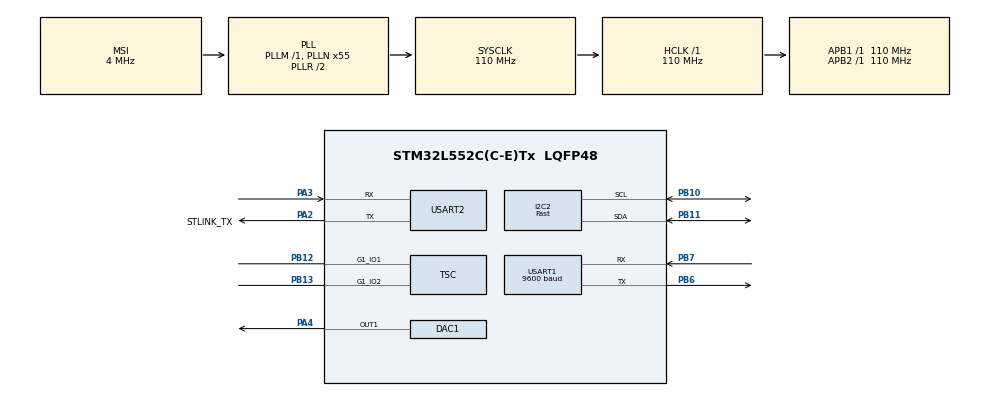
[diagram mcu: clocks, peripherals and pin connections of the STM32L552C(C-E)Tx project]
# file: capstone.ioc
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Dma.Request0=USART1_RX
Dma.Request1=USART1_TX
Dma.USART1_RX.0.Channel_PRIV_NPRIV=DMA_CHANNEL_NPRIV_DISABLE
Dma.USART1_RX.0.Direction=DMA_PERIPH_TO_MEMORY
Dma.USART1_RX.0.EventEnable=DISABLE
Dma.USART1_RX.0.Instance=DMA1_Channel1
Dma.USART1_RX.0.MemDataAlignment=DMA_MDATAALIGN_BYTE
Dma.USART1_RX.0.MemInc=DMA_MINC_ENABLE
Dma.USART1_RX.0.Mode=DMA_NORMAL
Dma.USART1_RX.0.PeriphDataAlignment=DMA_PDATAALIGN_BYTE
Dma.USART1_RX.0.PeriphInc=DMA_PINC_DISABLE
Dma.USART1_RX.0.Polarity=HAL_DMAMUX_REQ_GEN_RISING
Dma.USART1_RX.0.Priority=DMA_PRIORITY_HIGH
Dma.USART1_RX.0.RequestNumber=1
Dma.USART1_RX.0.SignalID=NONE
Dma.USART1_RX.0.SyncEnable=DISABLE
Dma.USART1_RX.0.SyncPolarity=HAL_DMAMUX_SYNC_NO_EVENT
Dma.USART1_RX.0.SyncRequestNumber=1
Dma.USART1_RX.0.SyncSignalID=NONE
Dma.USART1_TX.1.Channel_PRIV_NPRIV=DMA_CHANNEL_NPRIV_DISABLE
Dma.USART1_TX.1.Direction=DMA_MEMORY_TO_PERIPH
Dma.USART1_TX.1.EventEnable=DISABLE
Dma.USART1_TX.1.Instance=DMA1_Channel2
Dma.USART1_TX.1.MemDataAlignment=DMA_MDATAALIGN_BYTE
Dma.USART1_TX.1.MemInc=DMA_MINC_ENABLE
Dma.USART1_TX.1.Mode=DMA_NORMAL
Dma.USART1_TX.1.PeriphDataAlignment=DMA_PDATAALIGN_BYTE
Dma.USART1_TX.1.PeriphInc=DMA_PINC_DISABLE
Dma.USART1_TX.1.Polarity=HAL_DMAMUX_REQ_GEN_RISING
Dma.USART1_TX.1.Priority=DMA_PRIORITY_HIGH
Dma.USART1_TX.1.RequestNumber=1
Dma.USART1_TX.1.SignalID=NONE
Dma.USART1_TX.1.SyncEnable=DISABLE
Dma.USART1_TX.1.SyncPolarity=HAL_DMAMUX_SYNC_NO_EVENT
Dma.USART1_TX.1.SyncRequestNumber=1
Dma.USART1_TX.1.SyncSignalID=NONE
I2C2.I2C_Speed_Mode=I2C_Fast
I2C2.OwnAddress=0x3C
I2C2.Timing=0x10A21D58
Mcu.Family=STM32L5
Mcu.Name=STM32L552C(C-E)Tx
Mcu.Package=LQFP48
NVIC.DMA1_Channel1_IRQn=true\:0\:0\:false\:false\:true\:false\:true\:true
NVIC.DMA1_Channel2_IRQn=true\:0\:0\:false\:false\:true\:false\:true\:true
NVIC.PriorityGroup=NVIC_PRIORITYGROUP_3
NVIC.USART1_IRQn=true\:0\:0\:false\:false\:true\:true\:true\:true
NVIC.USART2_IRQn=true\:0\:0\:false\:false\:true\:true\:true\:true
PA13\ (JTMS/SWDIO).Mode=JTAG_5_pins
PA13\ (JTMS/SWDIO).Signal=DEBUG_JTMS-SWDIO
PA14\ (JTCK/SWCLK).Mode=JTAG_5_pins
PA14\ (JTCK/SWCLK).Signal=DEBUG_JTCK-SWCLK
PA15\ (JTDI).Mode=JTAG_5_pins
PA15\ (JTDI).Signal=DEBUG_JTDI
PA2.GPIO_Label=STLINK_TX
PA2.Mode=Asynchronous
PA2.Signal=USART2_TX
PA3.Mode=Asynchronous
PA3.Signal=USART2_RX
PA4.Signal=COMP_DAC11_group
PB10.Mode=I2C
PB10.Signal=I2C2_SCL
PB11.Mode=I2C
PB11.Signal=I2C2_SDA
PB12.Mode=G1_IO1-Channel
PB12.Signal=TSC_G1_IO1
PB13.Mode=G1_IO2-Sampling
PB13.Signal=TSC_G1_IO2
PB3\ (JTDO/TRACESWO).Mode=JTAG_5_pins
PB3\ (JTDO/TRACESWO).Signal=DEBUG_JTDO-SWO
PB6.Mode=Asynchronous
PB6.Signal=USART1_TX
PB7.Mode=Asynchronous
PB7.Signal=USART1_RX
PC14-OSC32_IN\ (PC14).Mode=LSE-External-Oscillator
PC14-OSC32_IN\ (PC14).Signal=RCC_OSC32_IN
PC15-OSC32_OUT\ (PC15).Mode=LSE-External-Oscillator
PC15-OSC32_OUT\ (PC15).Signal=RCC_OSC32_OUT
PH0-OSC_IN\ (PH0).Mode=HSE-External-Oscillator
PH0-OSC_IN\ (PH0).Signal=RCC_OSC_IN
PH1-OSC_OUT\ (PH1).Mode=HSE-External-Oscillator
PH1-OSC_OUT\ (PH1).Signal=RCC_OSC_OUT
ProjectManager.HeapSize=0x200
ProjectManager.StackSize=0x400
ProjectManager.TargetToolchain=STM32CubeIDE
RCC.ADCFreq_Value=64000000
RCC.AHBFreq_Value=110000000
RCC.APB1Freq_Value=110000000
RCC.APB1TimFreq_Value=110000000
RCC.APB2Freq_Value=110000000
RCC.APB2TimFreq_Value=110000000
RCC.CK48CLockSelection=RCC_USBCLKSOURCE_HSI48
RCC.CortexFreq_Value=110000000
RCC.HCLKFreq_Value=110000000
RCC.HSE_VALUE=16000000
RCC.HSI48_VALUE=48000000
RCC.HSI_VALUE=16000000
RCC.MSI_VALUE=4000000
RCC.PLLN=55
RCC.PLLSAI1N=32
RCC.SYSCLKFreq_VALUE=110000000
RCC.SYSCLKSource=RCC_SYSCLKSOURCE_PLLCLK
RCC.USBFreq_Value=48000000
RCC.VCOOutputFreq_Value=220000000
SH.COMP_DAC11_group.0=DAC1_OUT1,DAC_OUT1
TSC.ChannelIOs-G1_IO1=TSC_GROUP1_IO1
TSC.PulseGeneratorPrescaler=TSC_PG_PRESC_DIV16
TSC.SamplingIOs-G1_IO2=TSC_GROUP1_IO2
USART1.BaudRate=9600
USART1.RxPinLevelInvertParam=ADVFEATURE_RXINV_DISABLE
USART1.TxPinLevelInvertParam=ADVFEATURE_TXINV_DISABLE
USART1.VirtualMode-Asynchronous=VM_ASYNC
USART2.VirtualMode-Asynchronous=VM_ASYNC
VP_ICACHE_VS_ICACHE.Mode=DefaultMode
VP_PWR_VS_DBSignals.Mode=DisableDeadBatterySignals
VP_PWR_VS_SECSignals.Mode=Security/Privilege
board=custom

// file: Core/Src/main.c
/* USER CODE BEGIN Header */
/**
  ******************************************************************************
  * @file           : main.c
  * @brief          : Main program body
  ******************************************************************************
  * @attention
  *
  * Copyright (c) 2026 STMicroelectronics.
  * All rights reserved.
  *
  * This software is licensed under terms that can be found in the LICENSE file
  * in the root directory of this software component.
  * If no LICENSE file comes with this software, it is provided AS-IS.
  *
  ******************************************************************************
  */
/* USER CODE END Header */
#include "main.h"
#include "dac.h"
#include "dma.h"
#include "i2c.h"
#include "icache.h"
#include "tsc.h"
#include "usart.h"
#include "gpio.h"

/* USER CODE BEGIN Includes */
#include "sh1106.h"
#include "at09_ble.h"
#include "audio_packet.h"
#include <string.h>
#include <stdio.h>
#include <stdbool.h>
/* USER CODE END Includes */

/* USER CODE BEGIN PTD */

typedef struct {
  uint32_t raw;
  uint32_t baseline;
  uint32_t threshold;
  uint32_t ambient_threshold;
  uint32_t delta;
  uint32_t threshold_min;
  uint32_t threshold_divisor;
  uint32_t ambient_threshold_min;
  uint32_t ambient_threshold_divisor;
  uint8_t baseline_ok;
  uint8_t is_active;
  uint8_t last_tx_byte;
} TouchDebug_t;

typedef enum {
  BT_PROTO_WAIT_SYNC0 = 0,
  BT_PROTO_WAIT_SYNC1,
  BT_PROTO_WAIT_TYPE,
  BT_PROTO_WAIT_LENGTH,
  BT_PROTO_WAIT_PAYLOAD,
  BT_PROTO_WAIT_CHECKSUM,
} BT_ProtocolParseState_t;

typedef struct {
  BT_ProtocolParseState_t state;
  uint8_t type;
  uint8_t length;
  uint8_t index;
  uint8_t payload[16];
} BT_ProtocolParser_t;

typedef struct {
  uint32_t baud_rate;
  const char *at_command;
} BT05_BaudSetting_t;

typedef enum {
  FACE_HAPPY       = 0,
  FACE_DISTRACTED  = 1,
  FACE_DISTURBED   = 2,
  FACE_CRISIS      = 3,
} FaceState_t;

/* USER CODE END PTD */

/* USER CODE BEGIN PD */

#define TOUCH_SAMPLE_INTERVAL_MS  5U
#define TOUCH_BASELINE_SAMPLES    8U
#define TOUCH_THRESHOLD_MIN       7U
#define TOUCH_THRESHOLD_DIVISOR   122U
#define TOUCH_AMBIENT_THRESHOLD_MIN      2U
#define TOUCH_AMBIENT_THRESHOLD_DIVISOR  2U

#define BT_PROTO_SYNC0                  0xA5U
#define BT_PROTO_SYNC1                  0x5AU
#define BT_PROTO_MAX_PAYLOAD            16U
#define BT_PROTO_CMD_SET_FACE           0x01U
#define BT_PROTO_CMD_GET_STATUS         0x02U
#define BT_PROTO_CMD_PING               0x03U
#define BT_PROTO_CMD_SET_BT05_BAUD      0x04U
#define BT_PROTO_EVT_TOUCH_STATE        0x81U
#define BT_PROTO_EVT_FACE_STATE         0x82U
#define BT_PROTO_EVT_STATUS             0x83U
#define BT_PROTO_EVT_PONG               0x84U
#define BT_PROTO_EVT_BT05_BAUD_RESULT   0x85U

#define BT05_BAUD_STATUS_OK             0U
#define BT05_BAUD_STATUS_UNSUPPORTED    1U
#define BT05_BAUD_STATUS_LINK_DOWN      2U
#define BT05_BAUD_STATUS_COMMAND_FAIL   3U
#define BT05_BAUD_STATUS_UART_REINIT    4U
#define BT05_BAUD_STATUS_VERIFY_FAIL    5U

/* USER CODE END PD */

/* USER CODE BEGIN PV */

static bool face_state_known = false;
static FaceState_t face_state = FACE_HAPPY;
static bool touch_baseline_valid = false;
static bool touch_active = false;
static bool fake_audio_enabled = true;
static uint32_t touch_baseline = 0;
static uint32_t touch_last_sample_ms = 0;
static BT_ProtocolParser_t bt_protocol_parser = {0};
static uint32_t blink_last_ms = 0;
static bool blink_is_closed = false;

volatile TouchDebug_t dbg_touch = {
  .raw = 0,
  .baseline = 0,
  .threshold = 0,
  .ambient_threshold = 0,
  .delta = 0,
  .threshold_min = TOUCH_THRESHOLD_MIN,
  .threshold_divisor = TOUCH_THRESHOLD_DIVISOR,
  .ambient_threshold_min = TOUCH_AMBIENT_THRESHOLD_MIN,
  .ambient_threshold_divisor = TOUCH_AMBIENT_THRESHOLD_DIVISOR,
  .baseline_ok = 0,
  .is_active = 0,
  .last_tx_byte = 0,
};

/* USER CODE END PV */

void SystemClock_Config(void);
/* USER CODE BEGIN PFP */
static void DrawFace(FaceState_t state);
static void DrawCuteEye(int16_t center_x, int16_t center_y, FaceState_t state, bool left_eye);
static void SetFaceState(FaceState_t state);
static bool Touch_ReadRaw(uint32_t *value);
static void Touch_InitBaseline(void);
static void Touch_Process(void);
static void BT_ProtocolResetParser(void);
static bool BT_ProtocolProcessByte(uint8_t byte);
static void BT_ProtocolHandleFrame(uint8_t type, const uint8_t *payload, uint8_t length);
static void BT_ProtocolSendFrame(uint8_t type, const uint8_t *payload, uint8_t length);
static void BT_ProtocolSendFaceState(FaceState_t state);
static void BT_ProtocolSendTouchState(bool active);
static void BT_ProtocolSendStatus(void);
static void BT_ProtocolSendPong(void);
static void BT_ProtocolSendBt05BaudResult(uint8_t status, uint32_t baud_rate);
static uint32_t BT_ProtocolReadU32LE(const uint8_t *src);
static const BT05_BaudSetting_t *BT05_FindBaudSetting(uint32_t baud_rate);
static bool BT05_ReconfigureLocalUart(uint32_t baud_rate);
static uint8_t BT05_ConfigureBaud(uint32_t baud_rate);
/* USER CODE END PFP */

/* USER CODE BEGIN 0 */

static void DrawCuteEye(int16_t center_x, int16_t center_y, FaceState_t state, bool left_eye) {
  const int16_t eye_scale = 3;
  const int16_t eye_radius = 6 * eye_scale;
  const int16_t pupil_radius = 2 * eye_scale;
  const int16_t highlight_radius = eye_scale - 1;
  int16_t pupil_x, pupil_y;

  SH1106_DrawFilledCircle(center_x, center_y, eye_radius, SH1106_COLOR_WHITE);

  switch (state) {
    case FACE_HAPPY:
    default:
      /* Symmetric trim at top, pupils up-right */
      pupil_x = center_x + eye_scale;
      pupil_y = center_y + eye_scale;
      SH1106_DrawLine(center_x - (5 * eye_scale), center_y - (8 * eye_scale),
                      center_x - eye_scale,        center_y - (6 * eye_scale), SH1106_COLOR_WHITE);
      SH1106_DrawLine(center_x + eye_scale,        center_y - (6 * eye_scale),
                      center_x + (5 * eye_scale),  center_y - (8 * eye_scale), SH1106_COLOR_WHITE);
      break;

    case FACE_DISTRACTED:
      /* Both pupils drift right (zoning out), left brow raised higher */
      pupil_x = center_x + (2 * eye_scale);
      pupil_y = center_y;
      if (left_eye) {
        SH1106_DrawLine(center_x - (5 * eye_scale), center_y - (9 * eye_scale),
                        center_x + (3 * eye_scale), center_y - (7 * eye_scale), SH1106_COLOR_WHITE);
      } else {
        SH1106_DrawLine(center_x - (5 * eye_scale), center_y - (8 * eye_scale),
                        center_x - eye_scale,        center_y - (6 * eye_scale), SH1106_COLOR_WHITE);
        SH1106_DrawLine(center_x + eye_scale,        center_y - (6 * eye_scale),
                        center_x + (5 * eye_scale),  center_y - (8 * eye_scale), SH1106_COLOR_WHITE);
      }
      break;

    case FACE_DISTURBED:
      /* Brows angled inward (furrowed), pupils downcast toward center */
      pupil_x = left_eye ? (center_x - eye_scale) : (center_x + eye_scale);
      pupil_y = center_y + (2 * eye_scale);
      if (left_eye) {
        SH1106_DrawLine(center_x - (6 * eye_scale), center_y - (4 * eye_scale),
                        center_x + (6 * eye_scale), center_y - eye_scale,    SH1106_COLOR_BLACK);
        SH1106_DrawLine(center_x - (6 * eye_scale), center_y - (3 * eye_scale),
                        center_x + (6 * eye_scale), center_y,                SH1106_COLOR_BLACK);
        SH1106_DrawLine(center_x - (5 * eye_scale), center_y - (9 * eye_scale),
                        center_x + (4 * eye_scale), center_y - (7 * eye_scale), SH1106_COLOR_WHITE);
      } else {
        SH1106_DrawLine(center_x - (6 * eye_scale), center_y - eye_scale,
                        center_x + (6 * eye_scale), center_y - (4 * eye_scale), SH1106_COLOR_BLACK);
        SH1106_DrawLine(center_x - (6 * eye_scale), center_y,
                        center_x + (6 * eye_scale), center_y - (3 * eye_scale), SH1106_COLOR_BLACK);
        SH1106_DrawLine(center_x - (4 * eye_scale), center_y - (7 * eye_scale),
                        center_x + (5 * eye_scale), center_y - (9 * eye_scale), SH1106_COLOR_WHITE);
      }
      break;

    case FACE_CRISIS:
      /* Wide-open eyes (no eyelid trim), pupils small and centered — shocked look */
      pupil_x = center_x;
      pupil_y = center_y;
      break;
  }

  SH1106_DrawFilledCircle(pupil_x, pupil_y, pupil_radius, SH1106_COLOR_BLACK);
  SH1106_DrawFilledCircle(pupil_x - eye_scale, pupil_y - eye_scale, highlight_radius, SH1106_COLOR_WHITE);
}

static void DrawFace(FaceState_t state) {
  SH1106_Fill(SH1106_COLOR_BLACK);

  int16_t eye_y = (state == FACE_DISTURBED) ? 33 : 30;
  DrawCuteEye(42, eye_y, state, true);
  DrawCuteEye(86, eye_y, state, false);

  SH1106_UpdateScreen();
}

static uint8_t BT_ProtocolChecksum(uint8_t type, uint8_t length, const uint8_t *payload) {
  uint8_t checksum = type ^ length;

  for (uint8_t i = 0; i < length; i++) {
    checksum ^= payload[i];
  }

  return checksum;
}

static uint16_t BT_ProtocolClampU16(uint32_t value) {
  if (value > 0xFFFFU) {
    return 0xFFFFU;
  }

  return (uint16_t)value;
}

static void BT_ProtocolWriteU16LE(uint8_t *dst, uint16_t value) {
  dst[0] = (uint8_t)(value & 0xFFU);
  dst[1] = (uint8_t)((value >> 8) & 0xFFU);
}

static void BT_ProtocolWriteU32LE(uint8_t *dst, uint32_t value) {
  dst[0] = (uint8_t)(value & 0xFFU);
  dst[1] = (uint8_t)((value >> 8) & 0xFFU);
  dst[2] = (uint8_t)((value >> 16) & 0xFFU);
  dst[3] = (uint8_t)((value >> 24) & 0xFFU);
}

static uint32_t BT_ProtocolReadU32LE(const uint8_t *src) {
  return ((uint32_t)src[0]) |
         ((uint32_t)src[1] << 8) |
         ((uint32_t)src[2] << 16) |
         ((uint32_t)src[3] << 24);
}

static const BT05_BaudSetting_t *BT05_FindBaudSetting(uint32_t baud_rate) {
  static const BT05_BaudSetting_t settings[] = {
    { 9600U,   "AT+BAUD0" },
    { 19200U,  "AT+BAUD1" },
    { 38400U,  "AT+BAUD2" },
    { 57600U,  "AT+BAUD3" },
    { 115200U, "AT+BAUD4" },
    { 230400U, "AT+BAUD8" },
  };

  for (uint32_t i = 0; i < (sizeof(settings) / sizeof(settings[0])); i++) {
    if (settings[i].baud_rate == baud_rate) {
      return &settings[i];
    }
  }

  return NULL;
}

static bool BT05_ReconfigureLocalUart(uint32_t baud_rate) {
  if (HAL_UART_Abort(&huart1) != HAL_OK) {
    return false;
  }

  if (HAL_UART_DeInit(&huart1) != HAL_OK) {
    return false;
  }

  huart1.Init.BaudRate = baud_rate;

  if (HAL_UART_Init(&huart1) != HAL_OK) {
    return false;
  }

  if (HAL_UARTEx_SetTxFifoThreshold(&huart1, UART_TXFIFO_THRESHOLD_1_8) != HAL_OK) {
    return false;
  }

  if (HAL_UARTEx_SetRxFifoThreshold(&huart1, UART_RXFIFO_THRESHOLD_1_8) != HAL_OK) {
    return false;
  }

  if (HAL_UARTEx_DisableFifoMode(&huart1) != HAL_OK) {
    return false;
  }

  AT09_Init(&huart1);
  return true;
}

static uint8_t BT05_ConfigureBaud(uint32_t baud_rate) {
  char response[32];
  uint32_t previous_baud = huart1.Init.BaudRate;
  const BT05_BaudSetting_t *setting = BT05_FindBaudSetting(baud_rate);

  if (setting == NULL) {
    return BT05_BAUD_STATUS_UNSUPPORTED;
  }

  if (!AT09_SendCommand("AT", response, sizeof(response), 250U)) {
    return BT05_BAUD_STATUS_LINK_DOWN;
  }

  if (!AT09_SendCommand(setting->at_command, response, sizeof(response), 300U)) {
    return BT05_BAUD_STATUS_COMMAND_FAIL;
  }

  HAL_Delay(60U);

  if (!BT05_ReconfigureLocalUart(baud_rate)) {
    BT05_ReconfigureLocalUart(previous_baud);
    return BT05_BAUD_STATUS_UART_REINIT;
  }

  for (uint32_t attempt = 0; attempt < 3U; attempt++) {
    HAL_Delay(40U);
    if (AT09_SendCommand("AT", response, sizeof(response), 250U)) {
      return BT05_BAUD_STATUS_OK;
    }
  }

  if (BT05_ReconfigureLocalUart(previous_baud)) {
    if (AT09_SendCommand("AT", response, sizeof(response), 250U)) {
      return BT05_BAUD_STATUS_VERIFY_FAIL;
    }
  }

  return BT05_BAUD_STATUS_VERIFY_FAIL;
}

static void BT_ProtocolResetParser(void) {
  bt_protocol_parser.state = BT_PROTO_WAIT_SYNC0;
  bt_protocol_parser.type = 0U;
  bt_protocol_parser.length = 0U;
  bt_protocol_parser.index = 0U;
}

static void BT_ProtocolSendFrame(uint8_t type, const uint8_t *payload, uint8_t length) {
  uint8_t frame[2U + 1U + 1U + BT_PROTO_MAX_PAYLOAD + 1U];

  if (length > BT_PROTO_MAX_PAYLOAD) {
    return;
  }

  frame[0] = BT_PROTO_SYNC0;
  frame[1] = BT_PROTO_SYNC1;
  frame[2] = type;
  frame[3] = length;

  if ((payload != NULL) && (length > 0U)) {
    memcpy(&frame[4], payload, length);
  }

  frame[4U + length] = BT_ProtocolChecksum(type, length, payload);
  AT09_SendBytes(frame, (uint16_t)(5U + length));
}

static void BT_ProtocolSendFaceState(FaceState_t state) {
  uint8_t payload[1];

  payload[0] = (uint8_t)state;
  BT_ProtocolSendFrame(BT_PROTO_EVT_FACE_STATE, payload, sizeof(payload));
}

static void BT_ProtocolSendTouchState(bool active) {
  uint8_t payload[5];

  payload[0] = active ? 1U : 0U;
  BT_ProtocolWriteU16LE(&payload[1], BT_ProtocolClampU16(dbg_touch.delta));
  BT_ProtocolWriteU16LE(&payload[3], BT_ProtocolClampU16(dbg_touch.raw));
  BT_ProtocolSendFrame(BT_PROTO_EVT_TOUCH_STATE, payload, sizeof(payload));
}

static void BT_ProtocolSendStatus(void) {
  uint8_t payload[11];

  payload[0] = (uint8_t)(((uint8_t)face_state & 0x03U) |
                         (touch_active ? 0x04U : 0x00U) |
                         (touch_baseline_valid ? 0x08U : 0x00U));
  BT_ProtocolWriteU16LE(&payload[1], BT_ProtocolClampU16(dbg_touch.raw));
  BT_ProtocolWriteU16LE(&payload[3], BT_ProtocolClampU16(dbg_touch.baseline));
  BT_ProtocolWriteU16LE(&payload[5], BT_ProtocolClampU16(dbg_touch.delta));
  BT_ProtocolWriteU16LE(&payload[7], BT_ProtocolClampU16(dbg_touch.threshold));
  BT_ProtocolWriteU16LE(&payload[9], BT_ProtocolClampU16(dbg_touch.ambient_threshold));
  BT_ProtocolSendFrame(BT_PROTO_EVT_STATUS, payload, sizeof(payload));
}

static void BT_ProtocolSendPong(void) {
  uint8_t payload[4];

  BT_ProtocolWriteU32LE(payload, HAL_GetTick());
  BT_ProtocolSendFrame(BT_PROTO_EVT_PONG, payload, sizeof(payload));
}

static void BT_ProtocolSendBt05BaudResult(uint8_t status, uint32_t baud_rate) {
  uint8_t payload[5];

  payload[0] = status;
  BT_ProtocolWriteU32LE(&payload[1], baud_rate);
  BT_ProtocolSendFrame(BT_PROTO_EVT_BT05_BAUD_RESULT, payload, sizeof(payload));
}

static void BT_ProtocolHandleFrame(uint8_t type, const uint8_t *payload, uint8_t length) {
  switch (type) {
    case BT_PROTO_CMD_SET_FACE:
      if (length >= 1U && payload[0] <= 3U) {
        static const FaceState_t face_map[4] = {
          FACE_CRISIS, FACE_DISTRACTED, FACE_HAPPY, FACE_DISTURBED
        };
        SetFaceState(face_map[payload[0]]);
      }
      break;

    case BT_PROTO_CMD_GET_STATUS:
      BT_ProtocolSendStatus();
      break;

    case BT_PROTO_CMD_PING:
      BT_ProtocolSendPong();
      break;

    case BT_PROTO_CMD_SET_BT05_BAUD:
      if (length >= 4U) {
        uint32_t requested_baud = BT_ProtocolReadU32LE(payload);
        uint8_t result = BT05_ConfigureBaud(requested_baud);
        BT_ProtocolSendBt05BaudResult(result, requested_baud);
      }
      break;

    default:
      break;
  }
}

static bool BT_ProtocolProcessByte(uint8_t byte) {
  switch (bt_protocol_parser.state) {
    case BT_PROTO_WAIT_SYNC0:
      if (byte == BT_PROTO_SYNC0) {
        bt_protocol_parser.state = BT_PROTO_WAIT_SYNC1;
        return true;
      }
      return false;

    case BT_PROTO_WAIT_SYNC1:
      if (byte == BT_PROTO_SYNC1) {
        bt_protocol_parser.state = BT_PROTO_WAIT_TYPE;
      } else if (byte == BT_PROTO_SYNC0) {
        bt_protocol_parser.state = BT_PROTO_WAIT_SYNC1;
      } else {
        BT_ProtocolResetParser();
      }
      return true;

    case BT_PROTO_WAIT_TYPE:
      bt_protocol_parser.type = byte;
      bt_protocol_parser.state = BT_PROTO_WAIT_LENGTH;
      return true;

    case BT_PROTO_WAIT_LENGTH:
      if (byte > BT_PROTO_MAX_PAYLOAD) {
        BT_ProtocolResetParser();
        return true;
      }

      bt_protocol_parser.length = byte;
      bt_protocol_parser.index = 0U;
      bt_protocol_parser.state = (byte == 0U) ? BT_PROTO_WAIT_CHECKSUM : BT_PROTO_WAIT_PAYLOAD;
      return true;

    case BT_PROTO_WAIT_PAYLOAD:
      bt_protocol_parser.payload[bt_protocol_parser.index++] = byte;
      if (bt_protocol_parser.index >= bt_protocol_parser.length) {
        bt_protocol_parser.state = BT_PROTO_WAIT_CHECKSUM;
      }
      return true;

    case BT_PROTO_WAIT_CHECKSUM:
      if (byte == BT_ProtocolChecksum(bt_protocol_parser.type,
                                      bt_protocol_parser.length,
                                      bt_protocol_parser.payload)) {
        BT_ProtocolHandleFrame(bt_protocol_parser.type,
                               bt_protocol_parser.payload,
                               bt_protocol_parser.length);
      }
      BT_ProtocolResetParser();
      return true;

    default:
      BT_ProtocolResetParser();
      return false;
  }
}

static void DrawBlinkEyes(void) {
  SH1106_Fill(SH1106_COLOR_BLACK);
  SH1106_DrawFilledRectangle(42 - 15, 30 - 2, 30, 5, SH1106_COLOR_WHITE);
  SH1106_DrawFilledRectangle(86 - 15, 30 - 2, 30, 5, SH1106_COLOR_WHITE);
  SH1106_UpdateScreen();
}

static void Blink_Process(void) {
  if (face_state != FACE_CRISIS) return;

  uint32_t now = HAL_GetTick();

  if (!blink_is_closed) {
    if (now - blink_last_ms >= 3500U) {
      blink_is_closed = true;
      blink_last_ms = now;
      DrawBlinkEyes();
    }
  } else {
    if (now - blink_last_ms >= 400U) {
      blink_is_closed = false;
      blink_last_ms = now;
      DrawFace(FACE_CRISIS);
    }
  }
}

static void SetFaceState(FaceState_t state) {
  if (face_state_known && face_state == state) {
    return;
  }

  blink_is_closed = false;
  blink_last_ms = HAL_GetTick();

  face_state = state;
  face_state_known = true;
  DrawFace(state);

  {
    uint8_t echo = (uint8_t)('0' + (uint8_t)state);
    AT09_SendBytes(&echo, 1);
  }

  BT_ProtocolSendFaceState(state);
}

static bool Touch_ReadRaw(uint32_t *value) {
  if (HAL_TSC_Start(&htsc) != HAL_OK) {
    return false;
  }

  if (HAL_TSC_PollForAcquisition(&htsc) != HAL_OK) {
    return false;
  }

  *value = HAL_TSC_GroupGetValue(&htsc, TSC_GROUP1_IDX);
  dbg_touch.raw = *value;
  return true;
}

static void Touch_InitBaseline(void) {
  uint32_t sum = 0;
  uint32_t sample = 0;
  uint32_t sample_count = 0;

  HAL_Delay(2000);

  for (uint32_t i = 0; i < TOUCH_BASELINE_SAMPLES; i++) {
    if (Touch_ReadRaw(&sample)) {
      sum += sample;
      sample_count++;
    }
    HAL_Delay(2);
  }

  if (sample_count > 0U) {
    touch_baseline = sum / sample_count;
    touch_baseline_valid = true;
    touch_last_sample_ms = HAL_GetTick();
    dbg_touch.baseline = touch_baseline;
    dbg_touch.baseline_ok = 1U;
  }
}

static void Touch_Process(void) {
  uint32_t sample = 0;
  uint32_t threshold = 0;
  uint32_t ambient_threshold = 0;
  uint32_t delta = 0;
  bool touched = false;

  if (!touch_baseline_valid) {
    dbg_touch.baseline_ok = 0U;
    return;
  }

  if ((HAL_GetTick() - touch_last_sample_ms) < TOUCH_SAMPLE_INTERVAL_MS) {
    return;
  }
  touch_last_sample_ms = HAL_GetTick();

  if (!Touch_ReadRaw(&sample)) {
    return;
  }

  threshold = touch_baseline / TOUCH_THRESHOLD_DIVISOR;
  if (threshold < TOUCH_THRESHOLD_MIN) {
    threshold = TOUCH_THRESHOLD_MIN;
  }

  ambient_threshold = threshold / TOUCH_AMBIENT_THRESHOLD_DIVISOR;
  if (ambient_threshold < TOUCH_AMBIENT_THRESHOLD_MIN) {
    ambient_threshold = TOUCH_AMBIENT_THRESHOLD_MIN;
  }

  dbg_touch.threshold = threshold;
  dbg_touch.ambient_threshold = ambient_threshold;

  if (sample <= touch_baseline) {
    delta = touch_baseline - sample;
  }
  dbg_touch.delta = delta;

#define TOUCH_DEBUG_STREAM_EN 0

  if (touch_active) {
    touched = (delta >= ambient_threshold);
  } else {
    touched = (delta >= threshold);
  }

#if TOUCH_DEBUG_STREAM_EN
  static uint32_t last_bt_send_ms = 0;
  if ((touched != touch_active) || ((HAL_GetTick() - last_bt_send_ms) >= 100U)) {
    BT_ProtocolSendTouchState(touched);
    last_bt_send_ms = HAL_GetTick();
  }
#else
  if (touched != touch_active) {
    BT_ProtocolSendTouchState(touched);
  }
#endif

  if (touched && !touch_active) {
    uint8_t touch_byte = 0x31;
    AT09_SendBytes(&touch_byte, 1);
    dbg_touch.last_tx_byte = touch_byte;
  }

  touch_active = touched;
  dbg_touch.is_active = touched ? 1U : 0U;
}

/* USER CODE END 0 */

int main(void)
{

  /* MCU Configuration--------------------------------------------------------*/

  /* Reset of all peripherals, Initializes the Flash interface and the Systick. */
  HAL_Init();

  /* Configure the system clock */
  SystemClock_Config();

  /* Initialize all configured peripherals */
  MX_GPIO_Init();
  MX_DMA_Init();
  MX_USART2_UART_Init();
  MX_ICACHE_Init();
  MX_DAC1_Init();
  MX_I2C2_Init();
  MX_USART1_UART_Init();
  MX_TSC_Init();
  /* USER CODE BEGIN 2 */

  /* I2C bus scan: sweep all 7-bit addresses and report over USART2 */
  {
    char msg[48];
    const char *hdr = "[I2C] Scanning bus...\r\n";
    HAL_UART_Transmit(&huart2, (uint8_t *)hdr, strlen(hdr), 500);
    int found = 0;
    for (uint8_t addr = 1; addr <= 127; addr++) {
      if (HAL_I2C_IsDeviceReady(&hi2c2, (uint16_t)(addr << 1), 2, 50) == HAL_OK) {
        int n = snprintf(msg, sizeof(msg), "[I2C] ACK at 0x%02X\r\n", addr);
        HAL_UART_Transmit(&huart2, (uint8_t *)msg, n, 500);
        found++;
      }
    }
    if (found == 0) {
      const char *none = "[I2C] No devices found\r\n";
      HAL_UART_Transmit(&huart2, (uint8_t *)none, strlen(none), 500);
    } else {
      int n = snprintf(msg, sizeof(msg), "[I2C] Scan done, %d device(s)\r\n", found);
      HAL_UART_Transmit(&huart2, (uint8_t *)msg, n, 500);
    }
  }

  SH1106_Init();
  AT09_Init(&huart1);
  Touch_InitBaseline();
  Audio_Init();

  // Show smiley by default on boot
  SetFaceState(FACE_CRISIS);

  // Pre-fill ring buffer with fake 440 Hz tone, then start DAC playback.
  // Comment out these two lines once real BLE audio packets are arriving.
  Audio_FeedFakeData();
  Audio_StartPlayback();

  /* USER CODE END 2 */

  /* Infinite loop */
  /* USER CODE BEGIN WHILE */
  while (1)
  {
    /* ---- Video frame streaming (data type 0x02) ---- */
    AT09_CheckFrameTimeout();
    if (at09_frame_ready) {
      SH1106_SetBufferAndFlush((const uint8_t *)at09_frame_buf);
      AT09_AckFrame();
    }

    /* ---- Audio packet streaming (start byte 0xAA) ---- */
    if (at09_audio_pkt_ready) {
      if (fake_audio_enabled) {
        Audio_StopPlayback();
        Audio_Init();
        fake_audio_enabled = false;
      }

      Audio_ProcessPacket((const uint8_t *)at09_audio_pkt_buf);
      AT09_AckAudioPacket();
      if (!Audio_IsPlaying()) {
        Audio_StartPlayback();
      }
    }

    /* Keep either the fake tone or the last real packet feeding playback. */
    if (fake_audio_enabled) {
      Audio_FeedFakeData();
    } else {
      Audio_FeedLastPacket();
    }

    Touch_Process();
    Blink_Process();

    /* ---- Legacy single-byte commands ---- */
    if (AT09_DataAvailable()) {
      uint8_t buf[AT09_RX_BUF_SIZE];
      uint16_t len = AT09_Read(buf, sizeof(buf));
      for (uint16_t i = 0; i < len; i++) {
        if (BT_ProtocolProcessByte(buf[i])) {
          continue;
        }

        if      (buf[i] == '0') { SetFaceState(FACE_CRISIS); }
        else if (buf[i] == '1') { SetFaceState(FACE_DISTRACTED); }
        else if (buf[i] == '2') { SetFaceState(FACE_HAPPY); }
        else if (buf[i] == '3') { SetFaceState(FACE_DISTURBED); }
      }
    }
    /* USER CODE END WHILE */

  }
}

void SystemClock_Config(void)
{
  RCC_OscInitTypeDef RCC_OscInitStruct = {0};
  RCC_ClkInitTypeDef RCC_ClkInitStruct = {0};

  /** Configure the main internal regulator output voltage
  */
  if (HAL_PWREx_ControlVoltageScaling(PWR_REGULATOR_VOLTAGE_SCALE0) != HAL_OK)
  {
    Error_Handler();
  }

  /** Initializes the RCC Oscillators according to the specified parameters
  * in the RCC_OscInitTypeDef structure.
  */
  RCC_OscInitStruct.OscillatorType = RCC_OSCILLATORTYPE_MSI;
  RCC_OscInitStruct.MSIState = RCC_MSI_ON;
  RCC_OscInitStruct.MSICalibrationValue = RCC_MSICALIBRATION_DEFAULT;
  RCC_OscInitStruct.MSIClockRange = RCC_MSIRANGE_6;
  RCC_OscInitStruct.PLL.PLLState = RCC_PLL_ON;
  RCC_OscInitStruct.PLL.PLLSource = RCC_PLLSOURCE_MSI;
  RCC_OscInitStruct.PLL.PLLM = 1;
  RCC_OscInitStruct.PLL.PLLN = 55;
  RCC_OscInitStruct.PLL.PLLP = RCC_PLLP_DIV7;
  RCC_OscInitStruct.PLL.PLLQ = RCC_PLLQ_DIV2;
  RCC_OscInitStruct.PLL.PLLR = RCC_PLLR_DIV2;
  if (HAL_RCC_OscConfig(&RCC_OscInitStruct) != HAL_OK)
  {
    Error_Handler();
  }

  /** Initializes the CPU, AHB and APB buses clocks
  */
  RCC_ClkInitStruct.ClockType = RCC_CLOCKTYPE_HCLK|RCC_CLOCKTYPE_SYSCLK
                              |RCC_CLOCKTYPE_PCLK1|RCC_CLOCKTYPE_PCLK2;
  RCC_ClkInitStruct.SYSCLKSource = RCC_SYSCLKSOURCE_PLLCLK;
  RCC_ClkInitStruct.AHBCLKDivider = RCC_SYSCLK_DIV1;
  RCC_ClkInitStruct.APB1CLKDivider = RCC_HCLK_DIV1;
  RCC_ClkInitStruct.APB2CLKDivider = RCC_HCLK_DIV1;

  if (HAL_RCC_ClockConfig(&RCC_ClkInitStruct, FLASH_LATENCY_5) != HAL_OK)
  {
    Error_Handler();
  }
}

/* USER CODE BEGIN 4 */
void HAL_UART_RxCpltCallback(UART_HandleTypeDef *huart)
{
  AT09_UART_RxCpltCallback(huart);

}
/* USER CODE END 4 */

void Error_Handler(void)
{
  __disable_irq();
  while (1)
  {
  }
}
